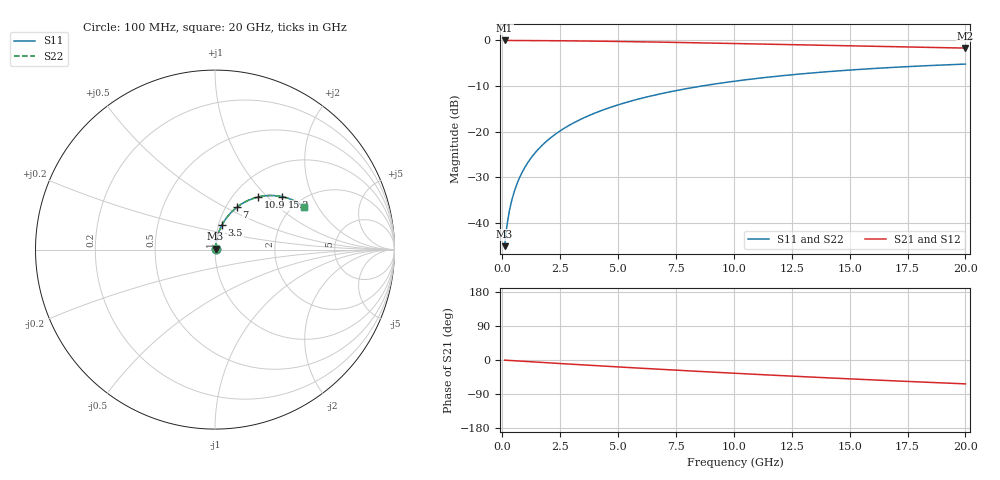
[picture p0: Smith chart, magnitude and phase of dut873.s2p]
! Touchstone file exported from HFSS 2026.1.0
!  File:  C:/ffzhzh/LocalFiles/Ansys_Project_Files/temp_train_TMRDL_873_1783157333_51560.aedt
!  Generated:  05:30:18 PM Jul  4, 2026
!  Design:  TMRDL
!  Project:  temp_train_TMRDL_873_1783157333_51560
! Variables:
!  h_bsmrdl = 2um
!  h_ox = 20um
!  h_rdl = 5um
!  h_sub = 80um
!  h_tmrdl = 5.14um
!  h_tsv = 80um
!  h_via = 3um
!  l_bsmrdl = 300um
!  l_sub = 1385.17um
!  l_tmrdl = 985.17um
!  m_sub = 200um
!  pitch = 56.05um
!  r_tsv = 6um
!  s_tmrdl = 10um
!  w_bsmrdl = 18um
!  w_sub = 500um
!  w_tmrdl = 20.37um
!  x_tsv_center1 = 995.355um
!  x_tsv_center2 = 1313.355um
!  x_tsv_center3 = 2318.895um
!  x_tsv_center4 = 2636.895um
!  x_tsv_center5 = 3642.435um
!  x_tsv_center6 = 3960.435um
# GHz S MA R 50.000000
! Terminal data exported
! Port[1] = TM_RDL1_1_T1
! Port[2] = TM_RDL1_1_T2
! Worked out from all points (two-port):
!   200 points, 100 MHz to 20 GHz, reference 50 ohm
!   highest |S21| = -0.03 dB at 100 MHz (marker M1); lowest = -1.7 dB at 20 GHz (marker M2)
!   |S21| within 3 dB of the highest: start of sweep to end of sweep
!   lowest |S11| = -45.0 dB at 100 MHz (marker M3), VSWR 1.01, Z = 50.3 + j0.441 ohm
!   |S11| at or under -10 dB: start of sweep to 8.611 GHz
!   |S22| runs from -45.0 to -5.2 dB; largest |S21 - S12| = 3.2e-15
!   S11 on the Smith chart (normalised r, x): 100 MHz: 1.01, +0.01; 3.5 GHz: 1.04, +0.29; 7 GHz: 1.12, +0.57; 10.9 GHz: 1.29, +0.89; 15.2 GHz: 1.62, +1.23; 20 GHz: 2.24, +1.53
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0.1  0.005607 51.4  0.9965 -0.4  0.9965 -0.4  0.005607 51.4
! Gamma 0 0 0 0
! Port Impedance 50 0 50 0
0.2  0.009418 66.4  0.9963 -0.8  0.9963 -0.8  0.009418 66.4
0.3  0.01341 72.3  0.9961 -1.2  0.9961 -1.2  0.01341 72.3
0.4  0.01743 75.4  0.9959 -1.5  0.9959 -1.5  0.01743 75.4
0.5  0.02147 77.2  0.9957 -1.9  0.9957 -1.9  0.02147 77.2
0.7  0.02959 79.2  0.9954 -2.6  0.9954 -2.6  0.02959 79.2
1  0.04183 80.2  0.9947 -3.8  0.9947 -3.8  0.04183 80.2
1.4  0.05814 80.1  0.9936 -5.3  0.9936 -5.3  0.05814 80.1
2  0.08238 78.8  0.9913 -7.5  0.9913 -7.5  0.08238 78.8
2.7  0.1102 76.8  0.9879 -10.1  0.9879 -10.1  0.1102 76.8
3.5  0.1412 74.2  0.983 -13.0  0.983 -13.0  0.1412 74.2
4.2  0.1676 71.9  0.9781 -15.5  0.9781 -15.5  0.1675 71.9
5  0.1968 69.2  0.9719 -18.3  0.9719 -18.3  0.1968 69.2
6.8  0.259 63.3  0.9558 -24.5  0.9558 -24.5  0.259 63.3
7  0.2656 62.7  0.9539 -25.2  0.9539 -25.2  0.2656 62.7
8.5  0.3129 57.9  0.9388 -30.1  0.9388 -30.1  0.3129 57.9
10.1  0.3591 52.9  0.9217 -35.2  0.9217 -35.2  0.359 52.9
10.9  0.3805 50.5  0.9129 -37.7  0.9129 -37.7  0.3804 50.5
13.4  0.4402 43.2  0.8855 -45.2  0.8855 -45.2  0.4401 43.2
15.2  0.4766 38.2  0.8666 -50.3  0.8666 -50.3  0.4766 38.2
16.7  0.5031 34.2  0.8517 -54.4  0.8517 -54.4  0.503 34.2
20  0.5496 25.8  0.8229 -63.0  0.8229 -63.0  0.5495 25.8
